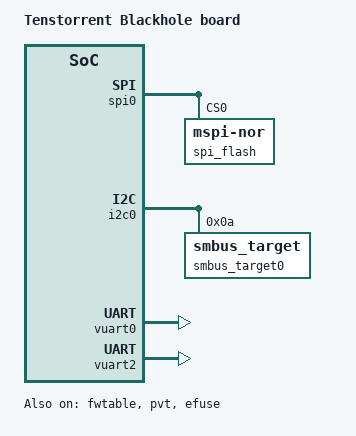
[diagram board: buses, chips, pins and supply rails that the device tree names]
/*
 * Copyright (c) 2024 Tenstorrent AI ULC
 * SPDX-License-Identifier: Apache-2.0
 */

/dts-v1/;

#include <tenstorrent/tt_blackhole_smc.dtsi>

#include <freq.h>
#include <mem.h>

/ {
	model = "Tenstorrent Blackhole board";
	compatible = "tenstorrent,blackhole";

	chosen {
		zephyr,sram = &csm;
		zephyr,console = &vuart0;
		zephyr,shell-uart = &vuart0;
		/* Not used for setting flash base address, but required by mcuboot */
		zephyr,flash = &nv_flash;
		zephyr,flash-controller = &spi_flash;
	};

	aliases {
		dmc-vuart = &vuart2;
	};

	pinctrl: pinctrl {
		compatible = "tenstorrent,bh-pinctrl";

		i2c0_scl_default: i2c0_scl_default {
			/* pin 0, AF1 */
			pinmux = <0 1>;
			drive-strength = <127>;
			input-enable;
		};

		i2c0_sda_default: i2c0_sda_default {
			/* pin 1, AF1 */
			pinmux = <1 1>;
			drive-strength = <127>;
			input-enable;
		};

		spi0_sclk_default: spi0_sclk_default {
			/* Placeholder SPI SCLK pin state; BH pinctrl backend no-ops for SPI */
			pinmux = <2 0>;
			drive-strength = <127>;
		};

		spi0_cs0_default: spi0_cs0_default {
			/* Placeholder SPI CS0 pin state; BH pinctrl backend no-ops for SPI */
			pinmux = <3 0>;
			drive-strength = <127>;
		};

		spi0_mosi_default: spi0_mosi_default {
			/* Placeholder SPI MOSI pin state; BH pinctrl backend no-ops for SPI */
			pinmux = <4 0>;
			drive-strength = <127>;
		};

		spi0_miso_default: spi0_miso_default {
			/* Placeholder SPI MISO pin state; BH pinctrl backend no-ops for SPI */
			pinmux = <5 0>;
			drive-strength = <127>;
			input-enable;
		};
	};
};

&dma1 {
	status = "okay";
};

&dma0 {
	status = "okay";
};

&spi0 {
	status = "okay";
	pinctrl-0 = <&spi0_sclk_default &spi0_cs0_default &spi0_mosi_default &spi0_miso_default>;
	pinctrl-names = "default";

	spi_flash: eeprom@0 {
		compatible = "jedec,mspi-nor";
		reg = <0>;
		status = "okay";
		size = <DT_SIZE_M(512)>;
		/* Programming has experimentally been reliable up to 17 MHz, use 15 to be safe */
		mspi-max-frequency = <DT_FREQ_M(15)>;
		/* Reading can operate at higher frequencies.
		 * Reliable up to 50MHz, use 40 to be safe.
		 */
		read-frequency = <DT_FREQ_M(40)>;
		mspi-io-mode = "MSPI_IO_MODE_QUAD_1_4_4";
		mspi-data-rate = "MSPI_DATA_RATE_SINGLE";
		use-4byte-addressing;
		mspi-endian = "MSPI_BIG_ENDIAN";
		quad-enable-requirements = "NONE";
		read-command = <0xec>;
		rx-dummy = <10>;
		write-command = <0x3e>;

		#address-cells = <1>;
		#size-cells = <1>;
		transfer-timeout = <100>;

		nv_flash: nv-flash@0 {
			compatible = "soc-nv-flash";
			reg = <0x0 DT_SIZE_M(512)>;
			write-block-size = <1>;
			erase-block-size = <4096>;
		};
	};
};

/* BH_ARC PLL library will raise system clock to 800MHz */
&sysclk {
	clock-frequency = <800000000>;
};

&i2c0 {
	status = "okay";
	pinctrl-0 = <&i2c0_scl_default &i2c0_sda_default>;
	pinctrl-names = "default";

	smbus_target0: smbus@a {
		status = "okay";
		compatible = "zephyr,smbus_target";
		reg = <0xa>;
	};
};

&i2c1 {
	status = "disabled";

	regulator0: max20816@64 {
		compatible = "maxim,max20816";
		reg = <0x64>;
		status = "disabled";
	};

	regulator1: max20816@65 {
		compatible = "maxim,max20816";
		reg = <0x65>;
		status = "disabled";
	};

	regulator2: mpm3695@33 {
		compatible = "mps,mpm3695";
		reg = <0x33>;
		status = "disabled";
	};

	regulator3: max20730@54 {
		compatible = "maxim,max20730";
		reg = <0x54>;
		status = "disabled";
	};

	regulator4: max20730@55 {
		compatible = "maxim,max20730";
		reg = <0x55>;
		status = "disabled";
	};

	regulator5: max20730@56 {
		compatible = "maxim,max20730";
		reg = <0x56>;
		status = "disabled";
	};

	regulator6: max20730@57 {
		compatible = "maxim,max20730";
		reg = <0x57>;
		status = "disabled";
	};
};

&i2c2 {
	status = "disabled";

	sw0: switch@72 {
		compatible = "ti,tps22993";
		reg = <0x72>;
		status = "disabled";
	};

	sw1: switch@73 {
		compatible = "ti,tps22993";
		reg = <0x73>;
		status = "disabled";
	};
};

&fwtable {
	flash-dev = <&spi_flash>;
	status = "okay";
};

/* Limit CSM to 192KB */
&csm {
	reg = <0x10000000 0x30000>; /* 192KB */
};

&vuart0 {
	status = "okay";
};

&vuart2 {
	status = "okay";
};

&pll0 {
	status = "okay";
};

&pll1 {
	status = "okay";
};

&pll2 {
	status = "okay";
};

&pll3 {
	status = "okay";
};

&pll4 {
	status = "okay";
};

&pvt {
	status = "okay";
};

/ {
	efuse: efuse@80040000 {
		compatible = "tenstorrent,bh-efuse";
		reg = <0x80040000 0x8000>, <0x80048000 0x8000>;
		reg-names = "mem", "cntl";
		status = "okay";
	};
};

&nv_flash {
#include "tt_blackhole_fixed_partitions.dtsi"
};
